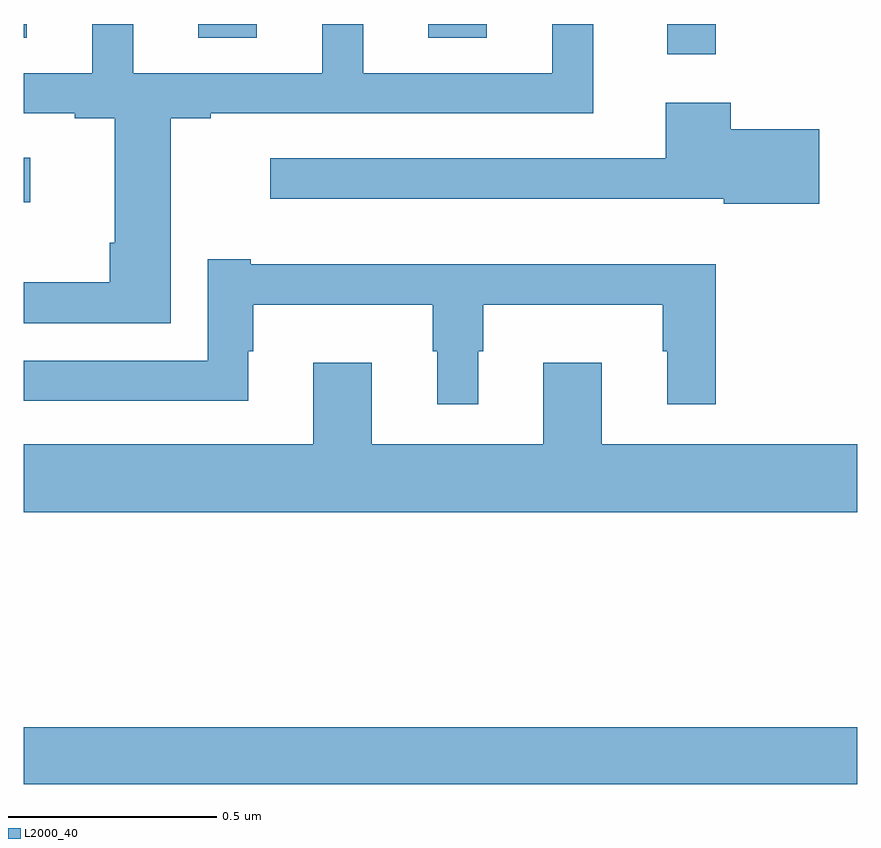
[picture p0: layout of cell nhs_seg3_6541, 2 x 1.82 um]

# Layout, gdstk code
import gdstk
lib = gdstk.Library(unit=1e-6, precision=1e-09)
def R(c, l, rs):  # rectangles x0, y0, x1, y1
    for r in rs: c.add(gdstk.rectangle(r[:2], r[2:], *l))
def P(c, l, *ps):  # polygons
    for p in ps: c.add(gdstk.Polygon(p, *l))
L2000_40 = (2000, 40)

nhs_seg3_6541 = lib.new_cell('nhs_seg3_6541')
R(nhs_seg3_6541, L2000_40, [(192,721.576,194,721.712), (192,722.972,192.016,723.079), (193.544,723.327,193.661,723.4), (192,723.367,192.007,723.4), (192.419,723.367,192.559,723.4), (192.971,723.367,193.111,723.4)])
P(nhs_seg3_6541, L2000_40, [(192.352,723.174),(192.448,723.174),(192.448,723.186),(193.367,723.186),(193.367,723.4),(193.268,723.4),(193.268,723.282),(192.814,723.282),(192.814,723.4),(192.716,723.4),(192.716,723.282),(192.262,723.282),(192.262,723.4),(192.164,723.4),(192.164,723.282),(192,723.282),(192,723.186),(192.122,723.186),(192.122,723.174),(192.218,723.174),(192.218,722.875),(192.206,722.875),(192.206,722.78),(192,722.78),(192,722.682),(192.352,722.682)],
  [(193.909,723.147),(193.697,723.147),(193.697,723.211),(193.541,723.211),(193.541,723.078),(192.591,723.078),(192.591,722.981),(193.68,722.981),(193.68,722.969),(193.909,722.969)],
  [(193.09,722.615),(193.102,722.615),(193.102,722.726),(193.533,722.726),(193.533,722.615),(193.544,722.615),(193.544,722.487),(193.661,722.487),(193.661,722.824),(192.544,722.824),(192.544,722.836),(192.441,722.836),(192.441,722.592),(192,722.592),(192,722.496),(192.538,722.496),(192.538,722.615),(192.55,722.615),(192.55,722.726),(192.981,722.726),(192.981,722.615),(192.992,722.615),(192.992,722.487),(193.09,722.487)],
  [(192.695,722.587),(192.695,722.392),(192,722.392),(192,722.228),(194,722.228),(194,722.392),(193.387,722.392),(193.387,722.587),(193.247,722.587),(193.247,722.392),(192.835,722.392),(192.835,722.587)])

lib.write_gds('nhs_seg3_6541.gds')
